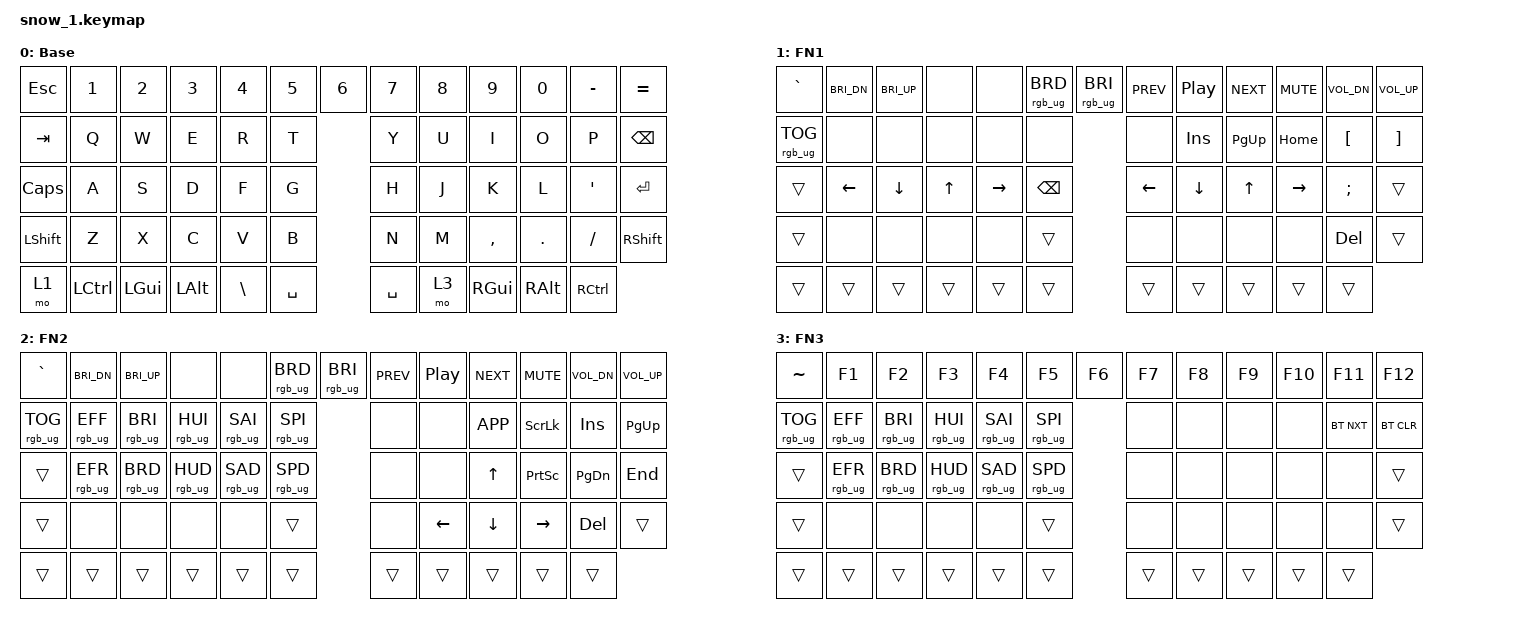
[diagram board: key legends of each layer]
/*
 * Copyright (c) 2021 The ZMK Contributors
 *
 * SPDX-License-Identifier: MIT
 */

#include <behaviors.dtsi>
#include <dt-bindings/zmk/bt.h>
#include <dt-bindings/zmk/keys.h>
#include <dt-bindings/zmk/rgb.h>

/ {
    keymap {
        compatible = "zmk,keymap";

// ----------------------------------------------      ----------------------------------------------
// | ESC |  1  |  2  |  3  |  4  |  5  |  6  |         |  7  |  8  |  9  |  0  |  -  |     =     |
// | TAB   |  Q  |  W  |  E  |  R  |  T  |              |  Y  |  U  |  I  |  O  |  P  |   BSPC    |
// | CAPS   |  A  |  S  |  D  |  F  |  G  |              |  H  |  J  |  K  |  L  |  '  |   ENTER  |
// | SHIFT    |  Z  |  X  |  C  |  V  |  B  |              |  N  |  M  |  ,  |  .  |  /  |  RSHFT  |
// | L1  | LCTL | LGUI | LALT |  \  |   SPC   |            |  SPC  | L3 | RGUI | RALT |   RCTRL   |
// ----------------------------------------------      ----------------------------------------------

        default_layer {
            display-name = "Base";
            bindings = <
    &kp ESC   &kp N1    &kp N2   &kp N3    &kp N4    &kp N5    &kp N6    /**/ &kp N7    &kp N8    &kp N9    &kp N0    &kp MINUS  &kp EQUAL
    &kp TAB   &kp Q     &kp W    &kp E     &kp R     &kp T               /**/ &kp Y     &kp U     &kp I     &kp O     &kp P      &kp BSPC
    &kp CAPS  &kp A     &kp S    &kp D     &kp F     &kp G               /**/ &kp H     &kp J     &kp K     &kp L     &kp SQT    &kp ENTER
    &kp LSHFT &kp Z     &kp X    &kp C     &kp V     &kp B               /**/ &kp N     &kp M     &kp COMMA &kp DOT   &kp FSLH   &kp RSHFT
    &mo 1     &kp LCTRL &kp LGUI &kp LALT  &kp BSLH  &kp SPACE           /**/ &kp SPACE &mo 3     &kp RGUI  &kp RALT  &kp RCTRL
            >;
        };

// ----------------------------------------------      ----------------------------------------------
// |  `  | BRI-| BRI+|     |     |RGB- |RGB+ |         | PREV| PLAY| NEXT| MUTE| VOL-|   VOL+    |
// | RGB_T |     |     |     |     |     |              |     | INS | PGUP| HOME|  [  |     ]     |
// |        | <-  |  v  |  ^  |  -> | BSPC|              | <-  |  v  |  ^  |  -> |  ;  |          |
// |          |     |     |     |     |     |              |     |     |     |     | DEL |        |
// |     |      |      |      |     |         |            |       |    |      |      |           |
// ----------------------------------------------      ----------------------------------------------

        fn1_layer {
            display-name = "FN1";
            bindings = <
    &kp GRAVE     &kp C_BRI_DN  &kp C_BRI_UP &none     &none     &rgb_ug RGB_BRD &rgb_ug RGB_BRI /**/ &kp C_PREV &kp C_PP  &kp C_NEXT &kp C_MUTE &kp C_VOL_DN &kp C_VOL_UP
    &rgb_ug RGB_TOG &none       &none        &none     &none     &none                           /**/ &none      &kp INS   &kp PG_UP  &kp HOME   &kp LBKT     &kp RBKT
    &trans        &kp LEFT      &kp DOWN     &kp UP    &kp RIGHT &kp BSPC                        /**/ &kp LEFT   &kp DOWN  &kp UP     &kp RIGHT  &kp SEMI     &trans
    &trans        &none         &none        &none     &none     &trans                          /**/ &none      &none     &none      &none      &kp DEL      &trans
    &trans        &trans        &trans       &trans    &trans    &trans                          /**/ &trans     &trans    &trans     &trans     &trans
            >;
        };

// ----------------------------------------------      ----------------------------------------------
// |  `  | BRI-| BRI+|     |     |RGB- |RGB+ |         | PREV| PLAY| NEXT| MUTE| VOL-|   VOL+    |
// | RGB_T |RGB_M|RGB+ |RGB_H|RGB_S|RGB_P|              |     |     | APP | SLCK| INS | PGUP      |
// |        |RGB_M|RGB- |RGB_H|RGB_S|RGB_P|              |     |     |  ^  | PSCR| PGDN|   END    |
// |          |     |     |     |     |     |              | NKRO| <-  |  v  |  -> | DEL |        |
// |     |      |      |      |     |         |            |       |    |      |      |           |
// ----------------------------------------------      ----------------------------------------------

        fn2_layer {
            display-name = "FN2";
            bindings = <
    &kp GRAVE       &kp C_BRI_DN    &kp C_BRI_UP    &none           &none           &rgb_ug RGB_BRD &rgb_ug RGB_BRI /**/ &kp C_PREV &kp C_PP   &kp C_NEXT &kp C_MUTE &kp C_VOL_DN &kp C_VOL_UP
    &rgb_ug RGB_TOG &rgb_ug RGB_EFF &rgb_ug RGB_BRI &rgb_ug RGB_HUI &rgb_ug RGB_SAI &rgb_ug RGB_SPI                 /**/ &none      &none      &kp K_APP  &kp SLCK   &kp INS      &kp PG_UP
    &trans          &rgb_ug RGB_EFR &rgb_ug RGB_BRD &rgb_ug RGB_HUD &rgb_ug RGB_SAD &rgb_ug RGB_SPD                 /**/ &none      &none      &kp UP     &kp PSCRN  &kp PG_DN    &kp END
    &trans          &none           &none           &none           &none           &trans                          /**/ &none      &kp LEFT   &kp DOWN   &kp RIGHT  &kp DEL      &trans
    &trans          &trans          &trans          &trans          &trans          &trans                          /**/ &trans     &trans     &trans     &trans     &trans
            >;
        };

// ----------------------------------------------      ----------------------------------------------
// |  ~  |  F1 |  F2 |  F3 |  F4 |  F5 |  F6 |         |  F7 |  F8 |  F9 | F10 | F11 |    F12    |
// | RGB_T |RGB_M|RGB+ |RGB_H|RGB_S|RGB_P|              |     |     |     |     |BT_NX|  BT_CLR   |
// |        |RGB_M|RGB- |RGB_H|RGB_S|RGB_P|              |     |     |     |     |     |          |
// |          |     |     |     |     |     |              |     |     |     |     |     |        |
// |     |      |      |      |     |         |            |       |    |      |      |           |
// ----------------------------------------------      ----------------------------------------------

        fn3_layer {
            display-name = "FN3";
            bindings = <
    &kp TILDE       &kp F1          &kp F2          &kp F3          &kp F4          &kp F5          &kp F6 /**/ &kp F7     &kp F8     &kp F9    &kp F10   &kp F11    &kp F12
    &rgb_ug RGB_TOG &rgb_ug RGB_EFF &rgb_ug RGB_BRI &rgb_ug RGB_HUI &rgb_ug RGB_SAI &rgb_ug RGB_SPI        /**/ &none      &none      &none     &none     &bt BT_NXT &bt BT_CLR
    &trans          &rgb_ug RGB_EFR &rgb_ug RGB_BRD &rgb_ug RGB_HUD &rgb_ug RGB_SAD &rgb_ug RGB_SPD        /**/ &none      &none      &none     &none     &none      &trans
    &trans          &none           &none           &none           &none           &trans                 /**/ &none      &none      &none     &none     &none      &trans
    &trans          &trans          &trans          &trans          &trans          &trans                 /**/ &trans     &trans     &trans    &trans    &trans
            >;
        };
    };
};
